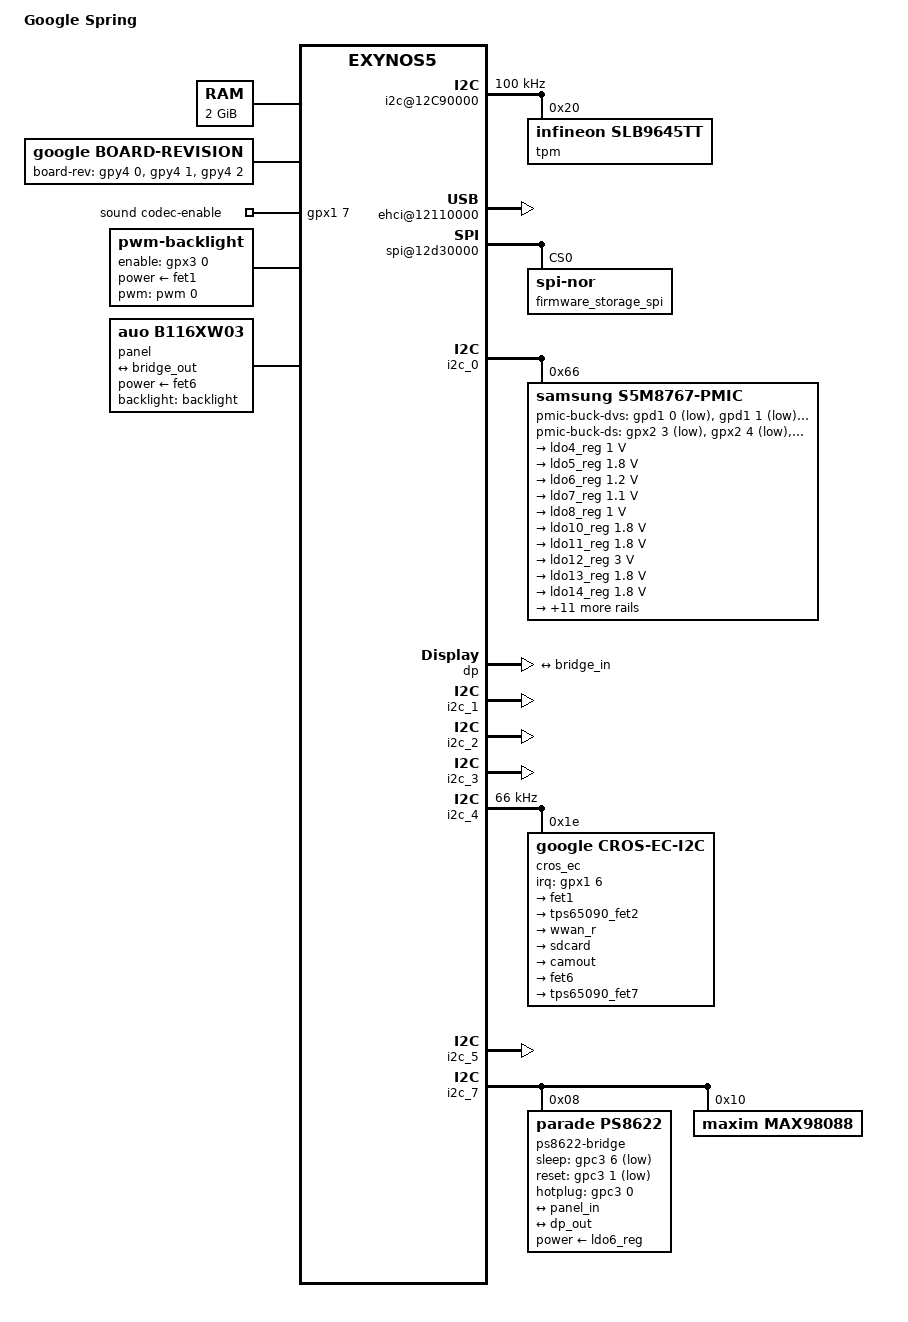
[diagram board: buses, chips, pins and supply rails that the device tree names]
// SPDX-License-Identifier: GPL-2.0
/*
 * Google Spring board device tree source
 *
 * Copyright (c) 2013 Google, Inc
 * Copyright (c) 2014 SUSE LINUX Products GmbH
 */

/dts-v1/;
#include <dt-bindings/gpio/gpio.h>
#include <dt-bindings/interrupt-controller/irq.h>
#include <dt-bindings/input/input.h>
#include "exynos5250.dtsi"

/ {
	model = "Google Spring";
	compatible = "google,spring", "samsung,exynos5250", "samsung,exynos5";

	aliases {
		i2c0 = "/i2c@12C60000";
		i2c1 = "/i2c@12C70000";
		i2c2 = "/i2c@12C80000";
		i2c3 = "/i2c@12C90000";
		i2c4 = "/i2c@12CA0000";
		i2c5 = "/i2c@12CB0000";
		i2c6 = "/i2c@12CC0000";
		i2c7 = "/i2c@12CD0000";
		i2c104 = &cros_ec_ldo_tunnel;
		spi0 = "/spi@12d20000";
		spi1 = "/spi@12d30000";
		spi2 = "/spi@12d40000";
		spi3 = "/spi@131a0000";
		spi4 = "/spi@131b0000";
		mmc0 = "/mmc@12200000";
		serial0 = "/serial@12C30000";
		console = "/serial@12C30000";
	};

	memory {
		reg = <0x40000000 0x80000000>;
	};

	iram {
		reg = <0x02020000 0x60000>;
	};

	config {
		samsung,bl1-offset = <0x1400>;
		samsung,bl2-offset = <0x3400>;
		u-boot-memory = "/memory";
		u-boot-offset = <0x3e00000 0x100000>;
	};

	flash@0 {
		reg = <0 0x100000>;
		#address-cells = <1>;
		#size-cells = <1>;
		pre-boot {
			label = "bl1 pre-boot";
			reg = <0 0x2000>;
			read-only;
			filename = "e5250.nbl1.bin";
			type = "blob exynos-bl1";
			required;
		};

		spl {
			label = "bl2 spl";
			reg = <0x2000 0x8000>;
			read-only;
			filename = "bl2.bin";
			type = "blob exynos-bl2 boot,dtb";
			payload = "/flash/ro-boot";
			required;
		};

		ro-boot {
			label = "u-boot";
			reg = <0xa000 0xb0000>;
			read-only;
			type = "blob boot,dtb";
			required;
		};
	};

	chosen {
		bootargs = "console=tty1";
		stdout-path = "serial3:115200n8";
	};

	board-rev {
		compatible = "google,board-revision";
		google,board-rev-gpios = <&gpy4 0 0>, <&gpy4 1 0>,
					 <&gpy4 2 0>;
	};

	i2c@12C90000 {
		clock-frequency = <100000>;
		tpm@20 {
			reg = <0x20>;
			compatible = "infineon,slb9645tt";
		};
	};

	mmc@12200000 {
		samsung,bus-width = <8>;
		samsung,timing = <1 3 3>;
		samsung,removable = <0>;
	};

	mmc@12210000 {
		status = "disabled";
	};

	mmc@12220000 {
		/* MMC2 pins are used as GPIO for eDP bridge */
		status = "disabled";
	};

	mmc@12230000 {
		status = "disabled";
	};

	ehci@12110000 {
		samsung,vbus-gpio = <&gpx1 1 GPIO_ACTIVE_HIGH>;
		status = "okay";
	};

	xhci@12000000 {
		samsung,vbus-gpio = <&gpx2 7 GPIO_ACTIVE_HIGH>;
	};

	sound {
		compatible = "google,spring-audio-max98088";

		samsung,model = "Spring-I2S-MAX98088";
		samsung,audio-codec = <&max98088>;
		codec-enable-gpio = <&gpx1 7 0>;

		cpu {
			sound-dai = <&i2s1 0>;
		};

		codec {
			sound-dai = <&max98088 0>;
		};
	};

	spi@12d30000 {
		spi-max-frequency = <50000000>;
		firmware_storage_spi: flash@0 {
			compatible = "jedec,spi-nor";
			reg = <0>;
		};
	};

	tmu@10060000 {
		samsung,min-temp	= <25>;
		samsung,max-temp	= <125>;
		samsung,start-warning	= <95>;
		samsung,start-tripping	= <105>;
		samsung,hw-tripping	= <110>;
		samsung,efuse-min-value	= <40>;
		samsung,efuse-value	= <55>;
		samsung,efuse-max-value	= <100>;
		samsung,slope		= <274761730>;
		samsung,dc-value	= <25>;
	};

	fimd@14400000 {
		samsung,vl-freq = <60>;
		samsung,vl-col = <1366>;
		samsung,vl-row = <768>;
		samsung,vl-width = <1366>;
		samsung,vl-height = <768>;

		samsung,vl-clkp;
		samsung,vl-dp;
		samsung,vl-hsp;
		samsung,vl-vsp;

		samsung,vl-bpix = <4>;

		samsung,vl-hspw = <32>;
		samsung,vl-hbpd = <80>;
		samsung,vl-hfpd = <48>;
		samsung,vl-vspw = <5>;
		samsung,vl-vbpd = <14>;
		samsung,vl-vfpd = <3>;
		samsung,vl-cmd-allow-len = <0xf>;

		samsung,winid = <0>;
		samsung,interface-mode = <1>;
		samsung,dp-enabled = <1>;
		samsung,dual-lcd-enabled = <0>;
	};

	dp@145b0000 {
		samsung,lt-status = <0>;

		samsung,master-mode = <0>;
		samsung,bist-mode = <0>;
		samsung,bist-pattern = <0>;
		samsung,h-sync-polarity = <0>;
		samsung,v-sync-polarity = <0>;
		samsung,interlaced = <0>;
		samsung,color-space = <0>;
		samsung,dynamic-range = <0>;
		samsung,ycbcr-coeff = <0>;
		samsung,color-depth = <1>;
	};

	backlight: backlight {
		compatible = "pwm-backlight";
		pwms = <&pwm 0 1000000 0>;
		brightness-levels = <0 100 500 1000 1500 2000 2500 2800>;
		default-brightness-level = <1>;
		enable-gpios = <&gpx3 0 GPIO_ACTIVE_HIGH>;
		power-supply = <&fet1>;
	};

	panel: panel {
		compatible = "auo,b116xw03";
		power-supply = <&fet6>;
		backlight = <&backlight>;

		port {
			panel_in: endpoint {
				remote-endpoint = <&bridge_out>;
			};
		};
	};
};

&i2c_0 {
	status = "okay";
	samsung,i2c-sda-delay = <100>;
	samsung,i2c-max-bus-freq = <378000>;

	s5m8767-pmic@66 {
		compatible = "samsung,s5m8767-pmic";
		reg = <0x66>;
		interrupt-parent = <&gpx3>;
		wakeup-source;

		s5m8767,pmic-buck-dvs-gpios = <&gpd1 0 GPIO_ACTIVE_LOW>, /* DVS1 */
		                              <&gpd1 1 GPIO_ACTIVE_LOW>, /* DVS2 */
		                              <&gpd1 2 GPIO_ACTIVE_LOW>; /* DVS3 */

		s5m8767,pmic-buck-ds-gpios = <&gpx2 3 GPIO_ACTIVE_LOW>, /* SET1 */
		                             <&gpx2 4 GPIO_ACTIVE_LOW>, /* SET2 */
		                             <&gpx2 5 GPIO_ACTIVE_LOW>; /* SET3 */

		/*
		 * The following arrays of DVS voltages are not used, since we are
		 * not using GPIOs to control PMIC bucks, but they must be defined
		 * to please the driver.
		 */
		s5m8767,pmic-buck2-dvs-voltage = <1350000>, <1300000>,
		                                 <1250000>, <1200000>,
		                                 <1150000>, <1100000>,
		                                 <1000000>, <950000>;

		s5m8767,pmic-buck3-dvs-voltage = <1100000>, <1100000>,
		                                 <1100000>, <1100000>,
		                                 <1000000>, <1000000>,
		                                 <1000000>, <1000000>;

		s5m8767,pmic-buck4-dvs-voltage = <1200000>, <1200000>,
		                                 <1200000>, <1200000>,
		                                 <1200000>, <1200000>,
		                                 <1200000>, <1200000>;

		clocks {
			compatible = "samsung,s5m8767-clk";
			#clock-cells = <1>;
			clock-output-names = "en32khz_ap",
			                     "en32khz_cp",
			                     "en32khz_bt";
		};

		regulators {
			ldo4_reg: LDO4 {
				regulator-name = "P1.0V_LDO_OUT4";
				regulator-min-microvolt = <1000000>;
				regulator-max-microvolt = <1000000>;
				regulator-always-on;
				op_mode = <0>;
			};

			ldo5_reg: LDO5 {
				regulator-name = "P1.8V_LDO_OUT5";
				regulator-min-microvolt = <1800000>;
				regulator-max-microvolt = <1800000>;
				regulator-always-on;
				op_mode = <0>;
			};

			ldo6_reg: LDO6 {
				regulator-name = "vdd_mydp";
				regulator-min-microvolt = <1200000>;
				regulator-max-microvolt = <1200000>;
				regulator-always-on;
				op_mode = <3>;
			};

			ldo7_reg: LDO7 {
				regulator-name = "P1.1V_LDO_OUT7";
				regulator-min-microvolt = <1100000>;
				regulator-max-microvolt = <1100000>;
				regulator-always-on;
				op_mode = <3>;
			};

			ldo8_reg: LDO8 {
				regulator-name = "P1.0V_LDO_OUT8";
				regulator-min-microvolt = <1000000>;
				regulator-max-microvolt = <1000000>;
				regulator-always-on;
				op_mode = <3>;
			};

			ldo10_reg: LDO10 {
				regulator-name = "P1.8V_LDO_OUT10";
				regulator-min-microvolt = <1800000>;
				regulator-max-microvolt = <1800000>;
				regulator-always-on;
				op_mode = <3>;
			};

			ldo11_reg: LDO11 {
				regulator-name = "P1.8V_LDO_OUT11";
				regulator-min-microvolt = <1800000>;
				regulator-max-microvolt = <1800000>;
				regulator-always-on;
				op_mode = <0>;
			};

			ldo12_reg: LDO12 {
				regulator-name = "P3.0V_LDO_OUT12";
				regulator-min-microvolt = <3000000>;
				regulator-max-microvolt = <3000000>;
				regulator-always-on;
				op_mode = <3>;
			};

			ldo13_reg: LDO13 {
				regulator-name = "P1.8V_LDO_OUT13";
				regulator-min-microvolt = <1800000>;
				regulator-max-microvolt = <1800000>;
				regulator-always-on;
				op_mode = <0>;
			};

			ldo14_reg: LDO14 {
				regulator-name = "P1.8V_LDO_OUT14";
				regulator-min-microvolt = <1800000>;
				regulator-max-microvolt = <1800000>;
				regulator-always-on;
				op_mode = <3>;
			};

			ldo15_reg: LDO15 {
				regulator-name = "P1.0V_LDO_OUT15";
				regulator-min-microvolt = <1000000>;
				regulator-max-microvolt = <1000000>;
				regulator-always-on;
				op_mode = <3>;
			};

			ldo16_reg: LDO16 {
				regulator-name = "P1.8V_LDO_OUT16";
				regulator-min-microvolt = <1800000>;
				regulator-max-microvolt = <1800000>;
				regulator-always-on;
				op_mode = <3>;
			};

			ldo17_reg: LDO17 {
				regulator-name = "P1.2V_LDO_OUT17";
				regulator-min-microvolt = <1200000>;
				regulator-max-microvolt = <1200000>;
				regulator-always-on;
				op_mode = <0>;
			};

			ldo25_reg: LDO25 {
				regulator-name = "vdd_bridge";
				regulator-min-microvolt = <1200000>;
				regulator-max-microvolt = <1200000>;
				regulator-always-on;
				op_mode = <1>;
			};

			buck1_reg: BUCK1 {
				regulator-name = "vdd_mif";
				regulator-min-microvolt = <950000>;
				regulator-max-microvolt = <1300000>;
				regulator-always-on;
				regulator-boot-on;
				op_mode = <3>;
			};

			buck2_reg: BUCK2 {
				regulator-name = "vdd_arm";
				regulator-min-microvolt = <850000>;
				regulator-max-microvolt = <1350000>;
				regulator-always-on;
				regulator-boot-on;
				op_mode = <3>;
			};

			buck3_reg: BUCK3 {
				regulator-name = "vdd_int";
				regulator-min-microvolt = <900000>;
				regulator-max-microvolt = <1200000>;
				regulator-always-on;
				regulator-boot-on;
				op_mode = <3>;
			};

			buck4_reg: BUCK4 {
				regulator-name = "vdd_g3d";
				regulator-min-microvolt = <850000>;
				regulator-max-microvolt = <1300000>;
				regulator-boot-on;
				op_mode = <3>;
			};

			buck5_reg: BUCK5 {
				regulator-name = "P1.8V_BUCK_OUT5";
				regulator-min-microvolt = <1800000>;
				regulator-max-microvolt = <1800000>;
				regulator-always-on;
				regulator-boot-on;
				op_mode = <1>;
			};

			buck6_reg: BUCK6 {
				regulator-name = "P1.2V_BUCK_OUT6";
				regulator-min-microvolt = <2050000>;
				regulator-max-microvolt = <2050000>;
				regulator-always-on;
				regulator-boot-on;
				op_mode = <0>;
			};

			buck9_reg: BUCK9 {
				regulator-name = "vdd_ummc";
				regulator-min-microvolt = <950000>;
				regulator-max-microvolt = <3000000>;
				regulator-always-on;
				regulator-boot-on;
				op_mode = <3>;
			};
		};
	};
};

&dp {
	status = "okay";
	samsung,color-space = <0>;
	samsung,dynamic-range = <0>;
	samsung,ycbcr-coeff = <0>;
	samsung,color-depth = <1>;
	samsung,link-rate = <0x0a>;
	samsung,lane-count = <1>;
	samsung,hpd-gpio = <&gpc3 0 GPIO_ACTIVE_HIGH>;

	ports {
		port@0 {
			dp_out: endpoint {
				remote-endpoint = <&bridge_in>;
			};
		};
	};
};

&i2c_1 {
	status = "okay";
	samsung,i2c-sda-delay = <100>;
	samsung,i2c-max-bus-freq = <378000>;
};

&i2c_2 {
	status = "okay";
	samsung,i2c-sda-delay = <100>;
	samsung,i2c-max-bus-freq = <66000>;
};

&i2c_3 {
	status = "okay";
	samsung,i2c-sda-delay = <100>;
	samsung,i2c-max-bus-freq = <66000>;
};

&i2c_4 {
	status = "okay";
	samsung,i2c-sda-delay = <100>;
	samsung,i2c-max-bus-freq = <66000>;
	clock-frequency = <66000>;

	cros_ec: embedded-controller {
		compatible = "google,cros-ec-i2c";
		reg = <0x1e>;
		interrupts = <6 IRQ_TYPE_NONE>;
		interrupt-parent = <&gpx1>;
		wakeup-source;
		u-boot,i2c-offset-len = <0>;
		ec-interrupt = <&gpx1 6 GPIO_ACTIVE_LOW>;
		cros_ec_ldo_tunnel: cros-ec-ldo-tunnel {
			compatible = "google,cros-ec-ldo-tunnel";
			#address-cells = <1>;
			#size-cells = <0>;
			power-regulator {
				compatible = "ti,tps65090";
				reg = <0x48>;

				regulators {
					dcdc1 {
						ti,enable-ext-control;
					};
					dcdc2 {
						ti,enable-ext-control;
					};
					dcdc3 {
						ti,enable-ext-control;
					};
					fet1: fet1 {
						regulator-name = "vcd_led";
						ti,overcurrent-wait = <3>;
					};
					tps65090_fet2: fet2 {
						regulator-name = "video_mid";
						regulator-always-on;
						ti,overcurrent-wait = <3>;
					};
					fet3 {
						regulator-name = "wwan_r";
						regulator-always-on;
						ti,overcurrent-wait = <3>;
					};
					fet4 {
						regulator-name = "sdcard";
						ti,overcurrent-wait = <3>;
					};
					fet5 {
						regulator-name = "camout";
						regulator-always-on;
						ti,overcurrent-wait = <3>;
					};
					fet6: fet6 {
						regulator-name = "lcd_vdd";
						ti,overcurrent-wait = <3>;
					};
					tps65090_fet7: fet7 {
						regulator-name = "video_mid_1a";
						regulator-always-on;
						ti,overcurrent-wait = <3>;
					};
					ldo1 {
					};
					ldo2 {
					};
				};
			};
		};
	};
};

&i2c_5 {
	status = "okay";
	samsung,i2c-sda-delay = <100>;
	samsung,i2c-max-bus-freq = <66000>;
};

&i2c_7 {
	status = "okay";
	samsung,i2c-sda-delay = <100>;
	samsung,i2c-max-bus-freq = <66000>;

	ps8622-bridge@8 {
		compatible = "parade,ps8622";
		reg = <0x8>;
		sleep-gpios = <&gpc3 6 GPIO_ACTIVE_LOW>;
		reset-gpios = <&gpc3 1 GPIO_ACTIVE_LOW>;
		hotplug-gpios = <&gpc3 0 GPIO_ACTIVE_HIGH>;
		power-supply = <&ldo6_reg>;
		parade,regs = /bits/ 8 <
			0x02 0xa1 0x01 /* HPD low */
			/*
			 * SW setting: [1:0] SW output 1.2V voltage is
			 * lower to 96%
			 */
			0x04 0x14 0x01
			/* RCO SS setting: [5:4] = b01 0.5%, b10 1%, b11 1.5% */
			0x04 0xe3 0x20
			0x04 0xe2 0x80 /* [7] RCO SS enable */
			/*
			 * RPHY Setting: [3:2] CDR tune wait cycle before
			 * measure for fine tune b00: 1us,
			 * 01: 0.5us, 10:2us, 11:4us
			 */
			0x04 0x8a 0x0c
			0x04 0x89 0x08 /* [3] RFD always on */
			/*
			 * CTN lock in/out: 20000ppm/80000ppm. Lock out 2 times
			 */
			0x04 0x71 0x2d
			/* 2.7G CDR settings */
			0x04 0x7d 0x07 /* NOF=40LSB for HBR CDR setting */
			0x04 0x7b 0x00 /* [1:0] Fmin=+4bands */
			0x04 0x7a 0xfd /* [7:5] DCO_FTRNG=+-40% */
			/*
			 * 1.62G CDR settings:
			 * [5:2]NOF=64LSB [1:0]DCO scale is 2/5
			 */
			0x04 0xc0 0x12
			0x04 0xc1 0x92 /* Gitune=-37% */
			0x04 0xc2 0x1c /* Fbstep=100% */
			0x04 0x32 0x80 /* [7] LOS signal disable */
			/* RPIO Setting */
			/* [7:4] LVDS driver bias current 75% (250mV swing) */
			0x04 0x00 0xb0
			 /* [7:6] Right-bar GPIO output strength is 8mA */
			0x04 0x15 0x40
			/* EQ Training State Machine Setting */
			0x04 0x54 0x10 /* RCO calibration start */
			/* [4:0] MAX_LANE_COUNT set to one lane */
			0x01 0x02 0x81
			/* [4:0] LANE_COUNT_SET set to one lane */
			0x01 0x21 0x81
			0x00 0x52 0x20
			0x00 0xf1 0x03 /* HPD CP toggle enable */
			0x00 0x62 0x41
			/* Counter number add 1ms counter delay */
			0x00 0xf6 0x01
			/*
			 * [6]PWM function control by DPCD0040f[7], default
			 * is PWM block always works
			 */
			0x00 0x77 0x06
			0x00 0x4c 0x04
			/*
			 * 04h Adjust VTotal tolerance to fix the 30Hz no-
			 * display issue
			 * DPCD00400='h00 Parade OUI = 'h001cf8
			 */
			0x01 0xc0 0x00
			0x01 0xc1 0x1c /* DPCD00401='h1c */
			0x01 0xc2 0xf8 /* DPCD00402='hf8 */
			/* DPCD403~408 = ASCII code D2SLV5='h4432534c5635 */
			0x01 0xc3 0x44
			0x01 0xc4 0x32 /* DPCD404 */
			0x01 0xc5 0x53 /* DPCD405 */
			0x01 0xc6 0x4c /* DPCD406 */
			0x01 0xc7 0x56 /* DPCD407 */
			0x01 0xc8 0x35 /* DPCD408 */
			/* DPCD40A Initial Code major revision '01' */
			0x01 0xca 0x01
			/* DPCD40B Initial Code minor revision '05' */
			0x01 0xcb 0x05
			0x01 0xa5 0xa0 /* DPCD720, Select internal PWM */
			/*
			 * 0xff for 100% PWM of brightness, 0h for 0% brightness
			 */
			0x01 0xa7 0x00
			/*
			 * Set LVDS output as 6bit-VESA mapping, single LVDS
			 * channel
			 */
			0x01 0xcc 0x13
			0x02 0xb1 0x20 /* Enable SSC set by register */
			/* Set SSC enabled and +/-1% central spreading */
			0x04 0x10 0x16
			0x04 0x59 0x60 /* MPU Clock source: LC => RCO */
			0x04 0x54 0x14 /* LC -> RCO */
			0x02 0xa1 0x91>; /* HPD high */
		ports {
			port@0 {
				bridge_out: endpoint {
					remote-endpoint = <&panel_in>;
				};
			};

			port@1 {
				bridge_in: endpoint {
					remote-endpoint = <&dp_out>;
				};
			};
		};
	};

	max98088: soundcodec@10 {
		reg = <0x10>;
		compatible = "maxim,max98088";
		#sound-dai-cells = <1>;
	};
};

#include "cros-ec-keyboard.dtsi"
